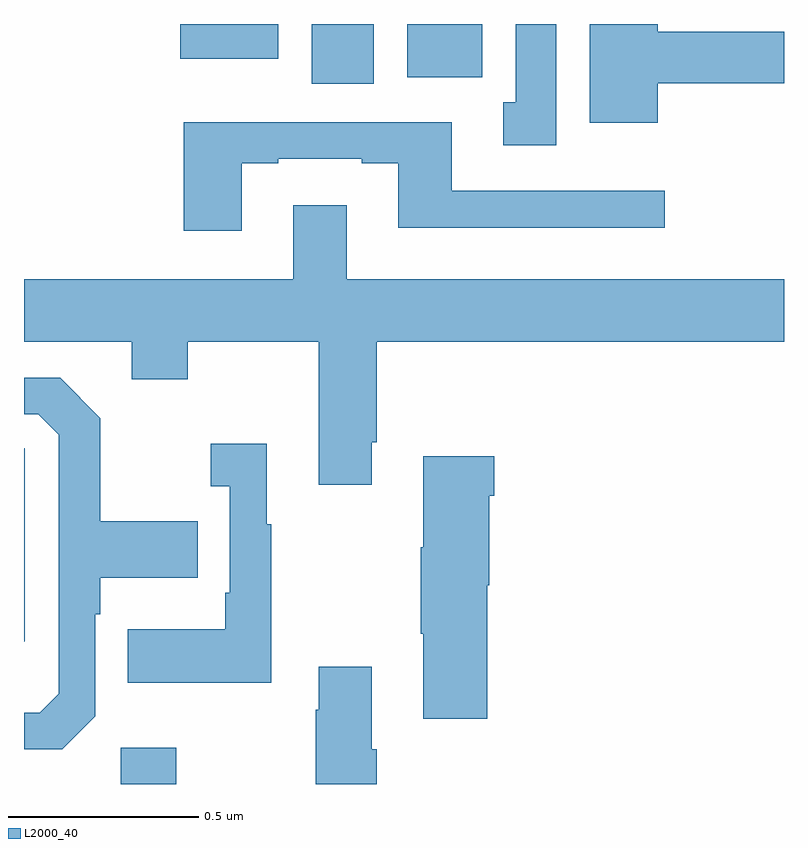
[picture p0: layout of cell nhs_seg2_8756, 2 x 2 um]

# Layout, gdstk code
import gdstk
lib = gdstk.Library(unit=1e-6, precision=1e-09)
def R(c, l, rs):  # rectangles x0, y0, x1, y1
    for r in rs: c.add(gdstk.rectangle(r[:2], r[2:], *l))
def P(c, l, *ps):  # polygons
    for p in ps: c.add(gdstk.Polygon(p, *l))
L2000_40 = (2000, 40)

nhs_seg2_8756 = lib.new_cell('nhs_seg2_8756')
R(nhs_seg2_8756, L2000_40, [(220.254,651.8,220.401,651.895), (220.757,653.643,220.921,653.8), (221.009,653.66,221.206,653.8), (220.411,653.708,220.669,653.8)])
P(nhs_seg2_8756, L2000_40, [(221.668,653.644),(222,653.644),(222,653.78),(221.668,653.78),(221.668,653.8),(221.489,653.8),(221.489,653.54),(221.668,653.54)],
  [(221.401,653.8),(221.294,653.8),(221.294,653.594),(221.261,653.594),(221.261,653.481),(221.401,653.481)],
  [(220.573,653.433),(220.669,653.433),(220.669,653.445),(220.889,653.445),(220.889,653.433),(220.985,653.433),(220.985,653.264),(221.686,653.264),(221.686,653.361),(221.125,653.361),(221.125,653.541),(220.665,653.541),(220.665,653.542),(220.421,653.542),(220.421,653.256),(220.573,653.256)],
  [(220.915,652.699),(220.928,652.699),(220.928,652.964),(222,652.964),(222,653.128),(220.849,653.128),(220.849,653.323),(220.709,653.323),(220.709,653.128),(220,653.128),(220,652.964),(220.283,652.964),(220.283,652.865),(220.431,652.865),(220.431,652.964),(220.775,652.964),(220.775,652.587),(220.915,652.587)],
  [(220.188,651.978),(220.188,652.247),(220.201,652.247),(220.201,652.343),(220.457,652.343),(220.457,652.491),(220.201,652.491),(220.201,652.763),(220.095,652.869),(220,652.869),(220,652.773),(220.038,652.773),(220.092,652.719),(220.092,652.038),(220.041,651.987),(220,651.987),(220,651.891),(220.101,651.891)],
  [(220.651,652.483),(220.639,652.483),(220.639,652.696),(220.491,652.696),(220.491,652.583),(220.542,652.583),(220.542,652.303),(220.53,652.303),(220.53,652.207),(220.273,652.207),(220.273,652.067),(220.651,652.067)],
  [(220.002,652.176),(220.002,652.683),(220,652.683),(220,652.174)],
  [(221.219,652.323),(221.224,652.323),(221.224,652.559),(221.237,652.559),(221.237,652.663),(221.051,652.663),(221.051,652.423),(221.044,652.423),(221.044,652.195),(221.051,652.195),(221.051,651.972),(221.219,651.972)],
  [(220.928,651.892),(220.915,651.892),(220.915,652.108),(220.775,652.108),(220.775,651.995),(220.768,651.995),(220.768,651.8),(220.928,651.8)])

lib.write_gds('nhs_seg2_8756.gds')
